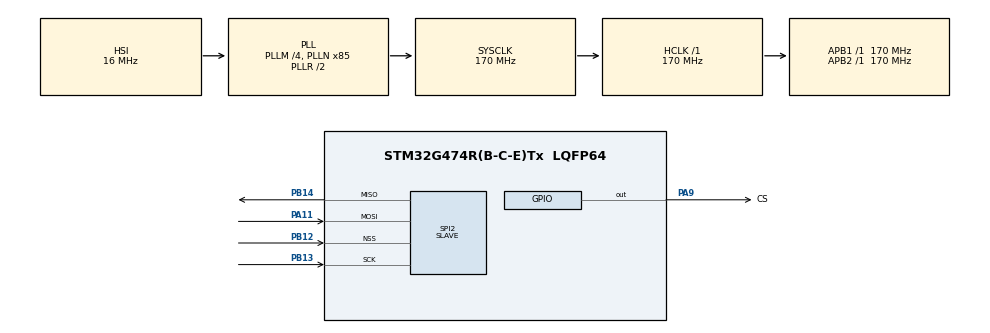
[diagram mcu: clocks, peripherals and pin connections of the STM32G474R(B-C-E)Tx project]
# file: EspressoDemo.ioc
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Mcu.Family=STM32G4
Mcu.Name=STM32G474R(B-C-E)Tx
Mcu.Package=LQFP64
NUCLEO-G474RE.BUTTON=1
NUCLEO-G474RE.LD2=true
NUCLEO-G474RE.VCP=true
NVIC.PriorityGroup=NVIC_PRIORITYGROUP_4
NVIC.SPI2_IRQn=true\:0\:0\:false\:false\:true\:true\:true\:true
PA11.Mode=Full_Duplex_Slave
PA11.Signal=SPI2_MOSI
PA13.GPIO_Label=T_SWDIO
PA13.Signal=SYS_JTMS-SWDIO
PA14.GPIO_Label=T_SWCLK
PA14.Signal=SYS_JTCK-SWCLK
PA9.GPIO_Label=CS
PA9.Signal=GPIO_Output
PB12.Mode=NSS_Signal_Hard_Input
PB12.Signal=SPI2_NSS
PB13.Mode=Full_Duplex_Slave
PB13.Signal=SPI2_SCK
PB14.Mode=Full_Duplex_Slave
PB14.Signal=SPI2_MISO
PB3.GPIO_Label=T_SWO
PB3.Signal=SYS_JTDO-SWO
PC14-OSC32_IN.GPIO_Label=RCC_OSC32_IN
PC14-OSC32_IN.Signal=RCC_OSC32_IN
PC15-OSC32_OUT.GPIO_Label=RCC_OSC32_OUT
PC15-OSC32_OUT.Signal=RCC_OSC32_OUT
PF0-OSC_IN.GPIO_Label=RCC_OSC_IN
PF0-OSC_IN.Signal=RCC_OSC_IN
PF1-OSC_OUT.GPIO_Label=RCC_OSC_OUT
PF1-OSC_OUT.Signal=RCC_OSC_OUT
ProjectManager.HeapSize=0x200
ProjectManager.StackSize=0x400
ProjectManager.TargetToolchain=STM32CubeIDE
RCC.ADC12Freq_Value=170000000
RCC.ADC345Freq_Value=170000000
RCC.AHBFreq_Value=170000000
RCC.APB1Freq_Value=170000000
RCC.APB1TimFreq_Value=170000000
RCC.APB2Freq_Value=170000000
RCC.APB2TimFreq_Value=170000000
RCC.CortexFreq_Value=170000000
RCC.EXTERNAL_CLOCK_VALUE=12288000
RCC.HCLKFreq_Value=170000000
RCC.HSE_VALUE=24000000
RCC.HSI48_VALUE=48000000
RCC.HSI_VALUE=16000000
RCC.LSE_VALUE=32768
RCC.PLLM=RCC_PLLM_DIV4
RCC.PLLN=85
RCC.RTCClockSelection=RCC_RTCCLKSOURCE_LSE
RCC.SYSCLKFreq_VALUE=170000000
RCC.SYSCLKSource=RCC_SYSCLKSOURCE_PLLCLK
RCC.USBFreq_Value=170000000
RCC.VCOOutputFreq_Value=340000000
SPI2.DataSize=SPI_DATASIZE_8BIT
SPI2.Direction=SPI_DIRECTION_2LINES
SPI2.Mode=SPI_MODE_SLAVE
SPI2.VirtualNSS=VM_NSSHARD
SPI2.VirtualType=VM_SLAVE
VP_SYS_VS_DBSignals.Mode=DisableDeadBatterySignals
board=NUCLEO-G474RE

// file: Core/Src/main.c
/* USER CODE BEGIN Header */
/**
  ******************************************************************************
  * @file           : main.c
  * @brief          : Main program body
  ******************************************************************************
  * @attention
  *
  * Copyright (c) 2026 STMicroelectronics.
  * All rights reserved.
  *
  * This software is licensed under terms that can be found in the LICENSE file
  * in the root directory of this software component.
  * If no LICENSE file comes with this software, it is provided AS-IS.
  *
  ******************************************************************************
  */
/* USER CODE END Header */
#include "main.h"

/* USER CODE BEGIN PTD */
typedef enum {
    STATE_IDLE           = 0,
    STATE_PUMPING        = 1,
    STATE_HEATING_BOILER = 2,
    STATE_HEATING_STEAM  = 3,
    STATE_ERROR          = 4
} MachineState;

typedef enum {
    MODE_OFF      = 0,
    MODE_LOW      = 1,
    MODE_MEDIUM   = 2,
    MODE_HIGH     = 3,
    MODE_TURBO    = 4,
    // ... bis 15 möglich (4 Bits)
} MachineMode;

typedef enum {
    FLAG_NONE     = 0,
    FLAG_WARNING  = 1,
    FLAG_ERROR    = 2,
    FLAG_CRITICAL = 3
} MachineFlag;
/* USER CODE END PTD */

/* USER CODE BEGIN PD */
#define CS_Pin        GPIO_PIN_9
#define CS_GPIO_Port  GPIOA
/* USER CODE END PD */

SPI_HandleTypeDef hspi2;

/* USER CODE BEGIN PV */
uint8_t rx_data = 0;
uint8_t tx_data = 0;
volatile uint8_t transfer_done = 0;
volatile MachineState currentState = STATE_IDLE;
volatile MachineMode  currentMode  = MODE_OFF;
volatile MachineFlag  currentFlag  = FLAG_NONE;
/* USER CODE END PV */

void SystemClock_Config(void);
static void MX_GPIO_Init(void);
static void MX_SPI2_Init(void);

/* USER CODE BEGIN 0 */

void HAL_SPI_TxRxCpltCallback(SPI_HandleTypeDef *hspi)
{
    if (hspi->Instance == SPI2)
    {
        // Bits 7-6: Enum 1 (MachineState)
        uint8_t cmd1 = (rx_data >> 6) & 0x03;
        switch (cmd1)
        {
            case 0x00: currentState = STATE_IDLE;           break;
            case 0x01: currentState = STATE_PUMPING;        break;
            case 0x02: currentState = STATE_HEATING_BOILER; break;
            case 0x03: currentState = STATE_HEATING_STEAM;  break;
            default:   currentState = STATE_ERROR;          break;
        }

        // Bits 5-2: Enum 2 (MachineMode) — 4 Bits
        uint8_t cmd2 = (rx_data >> 2) & 0x0F;
        switch (cmd2)
        {
            case 0x00: currentMode = MODE_OFF;    break;
            case 0x01: currentMode = MODE_LOW;    break;
            case 0x02: currentMode = MODE_MEDIUM; break;
            case 0x03: currentMode = MODE_HIGH;   break;
            case 0x04: currentMode = MODE_TURBO;  break;
            default:   currentMode = MODE_OFF;    break;
        }

        // Bits 1-0: Enum 3 (MachineFlag) — 2 Bits
        uint8_t cmd3 = rx_data & 0x03;
        switch (cmd3)
        {
            case 0x00: currentFlag = FLAG_NONE;     break;
            case 0x01: currentFlag = FLAG_WARNING;  break;
            case 0x02: currentFlag = FLAG_ERROR;    break;
            case 0x03: currentFlag = FLAG_CRITICAL; break;
        }

        tx_data = (uint8_t)currentState;
        transfer_done = 1;
        HAL_SPI_TransmitReceive_IT(&hspi2, &tx_data, &rx_data, 1);
    }
}

/* USER CODE BEGIN 4 */

/* USER CODE END 4 */
/* USER CODE END 0 */

int main(void)
{

  /* MCU Configuration--------------------------------------------------------*/

  /* Reset of all peripherals, Initializes the Flash interface and the Systick. */
  HAL_Init();

  /* Configure the system clock */
  SystemClock_Config();

  /* Initialize all configured peripherals */
  MX_GPIO_Init();
  MX_SPI2_Init();
  /* USER CODE BEGIN 2 */
  HAL_SPI_TransmitReceive_IT(&hspi2, &tx_data, &rx_data, 1);

  /* USER CODE END 2 */

  /* Infinite loop */
  /* USER CODE BEGIN WHILE */
  while (1)
  {
      switch (currentState)
      {
          case STATE_IDLE:           break;
          case STATE_PUMPING:        break;
          case STATE_HEATING_BOILER: break;
          case STATE_HEATING_STEAM:  break;
      }

    /* USER CODE END WHILE */

  }
}

void SystemClock_Config(void)
{
  RCC_OscInitTypeDef RCC_OscInitStruct = {0};
  RCC_ClkInitTypeDef RCC_ClkInitStruct = {0};

  /** Configure the main internal regulator output voltage
  */
  HAL_PWREx_ControlVoltageScaling(PWR_REGULATOR_VOLTAGE_SCALE1_BOOST);

  /** Initializes the RCC Oscillators according to the specified parameters
  * in the RCC_OscInitTypeDef structure.
  */
  RCC_OscInitStruct.OscillatorType = RCC_OSCILLATORTYPE_HSI;
  RCC_OscInitStruct.HSIState = RCC_HSI_ON;
  RCC_OscInitStruct.HSICalibrationValue = RCC_HSICALIBRATION_DEFAULT;
  RCC_OscInitStruct.PLL.PLLState = RCC_PLL_ON;
  RCC_OscInitStruct.PLL.PLLSource = RCC_PLLSOURCE_HSI;
  RCC_OscInitStruct.PLL.PLLM = RCC_PLLM_DIV4;
  RCC_OscInitStruct.PLL.PLLN = 85;
  RCC_OscInitStruct.PLL.PLLP = RCC_PLLP_DIV2;
  RCC_OscInitStruct.PLL.PLLQ = RCC_PLLQ_DIV2;
  RCC_OscInitStruct.PLL.PLLR = RCC_PLLR_DIV2;
  if (HAL_RCC_OscConfig(&RCC_OscInitStruct) != HAL_OK)
  {
    Error_Handler();
  }

  /** Initializes the CPU, AHB and APB buses clocks
  */
  RCC_ClkInitStruct.ClockType = RCC_CLOCKTYPE_HCLK|RCC_CLOCKTYPE_SYSCLK
                              |RCC_CLOCKTYPE_PCLK1|RCC_CLOCKTYPE_PCLK2;
  RCC_ClkInitStruct.SYSCLKSource = RCC_SYSCLKSOURCE_PLLCLK;
  RCC_ClkInitStruct.AHBCLKDivider = RCC_SYSCLK_DIV1;
  RCC_ClkInitStruct.APB1CLKDivider = RCC_HCLK_DIV1;
  RCC_ClkInitStruct.APB2CLKDivider = RCC_HCLK_DIV1;

  if (HAL_RCC_ClockConfig(&RCC_ClkInitStruct, FLASH_LATENCY_4) != HAL_OK)
  {
    Error_Handler();
  }
}

static void MX_SPI2_Init(void)
{

  /* SPI2 parameter configuration*/
  hspi2.Instance = SPI2;
  hspi2.Init.Mode = SPI_MODE_SLAVE;
  hspi2.Init.Direction = SPI_DIRECTION_2LINES;
  hspi2.Init.DataSize = SPI_DATASIZE_8BIT;
  hspi2.Init.CLKPolarity = SPI_POLARITY_LOW;
  hspi2.Init.CLKPhase = SPI_PHASE_1EDGE;
  hspi2.Init.NSS = SPI_NSS_HARD_INPUT;
  hspi2.Init.FirstBit = SPI_FIRSTBIT_MSB;
  hspi2.Init.TIMode = SPI_TIMODE_DISABLE;
  hspi2.Init.CRCCalculation = SPI_CRCCALCULATION_DISABLE;
  hspi2.Init.CRCPolynomial = 7;
  hspi2.Init.CRCLength = SPI_CRC_LENGTH_DATASIZE;
  hspi2.Init.NSSPMode = SPI_NSS_PULSE_DISABLE;
  if (HAL_SPI_Init(&hspi2) != HAL_OK)
  {
    Error_Handler();
  }

}

static void MX_GPIO_Init(void)
{
  GPIO_InitTypeDef GPIO_InitStruct = {0};

  /* GPIO Ports Clock Enable */
  __HAL_RCC_GPIOC_CLK_ENABLE();
  __HAL_RCC_GPIOF_CLK_ENABLE();
  __HAL_RCC_GPIOB_CLK_ENABLE();
  __HAL_RCC_GPIOA_CLK_ENABLE();

  /*Configure GPIO pin Output Level */
  HAL_GPIO_WritePin(CS_GPIO_Port, CS_Pin, GPIO_PIN_RESET);

  /*Configure GPIO pin : CS_Pin */
  GPIO_InitStruct.Pin = CS_Pin;
  GPIO_InitStruct.Mode = GPIO_MODE_OUTPUT_PP;
  GPIO_InitStruct.Pull = GPIO_NOPULL;
  GPIO_InitStruct.Speed = GPIO_SPEED_FREQ_LOW;
  HAL_GPIO_Init(CS_GPIO_Port, &GPIO_InitStruct);

}

void Error_Handler(void)
{
  __disable_irq();
  while (1)
  {
  }
}
